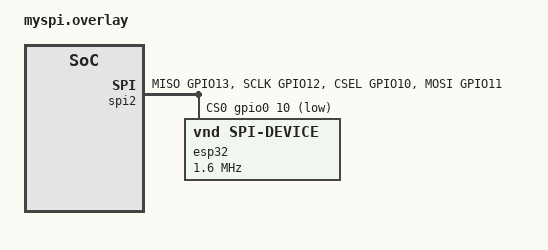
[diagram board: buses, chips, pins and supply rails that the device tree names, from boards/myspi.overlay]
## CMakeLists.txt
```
cmake_minimum_required(VERSION 3.20.0)
find_package(Zephyr REQUIRED HINTS $ENV{ZEPHYR_BASE})
project(app LANGUAGES C)

file(GLOB THREAD_SRCS ${CMAKE_CURRENT_SOURCE_DIR}/src/threads/*.c)
target_sources(app PRIVATE src/main.c src/test.gps.c src/test.pwm.c src/hil_diag.c ${THREAD_SRCS})

zephyr_include_directories(src)

zephyr_include_directories(${ZEPHYR_BASE}/../modules/lib/nanopb)

list(APPEND CMAKE_MODULE_PATH ${ZEPHYR_BASE}/modules/nanopb)
include(nanopb)
FILE(GLOB proto_sources ${CMAKE_CURRENT_SOURCE_DIR}/../../shared/proto/*.proto)
zephyr_nanopb_sources(app ${proto_sources})
```

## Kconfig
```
# Copyright (c) 2021 Nordic Semiconductor ASA
# SPDX-License-Identifier: Apache-2.0
#
# This file is the application Kconfig entry point. All application Kconfig
# options can be defined here or included via other application Kconfig files.
# You can browse these options using the west targets menuconfig (terminal) or
# guiconfig (GUI).

menu "Zephyr"
source "Kconfig.zephyr"
endmenu

module = APP
module-str = APP

config I2C_0_SCL_GPIO
	int "I2C0 SCL GPIO pin"
	default 9

config I2C_0_SDA_GPIO
	int "I2C0 SDA GPIO pin"
	default 8
```

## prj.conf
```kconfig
# Console
CONFIG_SERIAL=y
CONFIG_UART_CONSOLE=y
CONFIG_CONSOLE=y
CONFIG_PRINTK=y
CONFIG_NANOPB=y
CONFIG_SPI_STM32_INTERRUPT=y
CONFIG_CBPRINTF_FP_SUPPORT=y
CONFIG_CBPRINTF_NANO=y
CONFIG_CBPRINTF_COMPLETE=y
CONFIG_CBPRINTF_FP_SUPPORT=y

# Logging — immediate mode so output appears even before threads start
CONFIG_LOG=y
CONFIG_LOG_MODE_IMMEDIATE=y
CONFIG_LOG_BACKEND_UART=y

# GPIO (for LED)
CONFIG_GPIO=y

# SPI — both lines required or the device object is never emitted
CONFIG_SPI=y
CONFIG_SPI_SLAVE=y
CONFIG_SPI_LOG_LEVEL_DBG=y

# I2C
CONFIG_I2C=y
CONFIG_I2C_TARGET=y

# Kernel
CONFIG_MAIN_STACK_SIZE=4096
CONFIG_THREAD_NAME=y
CONFIG_STACK_SENTINEL=y

#PWM
CONFIG_PWM=y
CONFIG_PWM_CAPTURE=y

# Skip clock sync handshake during bring-up (no Pi connected yet)
# CONFIG_HIL_SKIP_CLOCK_SYNC=y
```

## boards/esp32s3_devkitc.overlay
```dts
/ {
    aliases {
        sw0 = &my_button;
    };
    gpio_keys {
        compatible = "gpio-keys";
        my_button: my_button {
            gpios = <&gpio0 12 GPIO_ACTIVE_LOW>;
            label = "Button 0";
        };
    };
};
```

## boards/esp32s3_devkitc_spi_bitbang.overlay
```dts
/*
 * Copyright (c) 2025 Nordic Semiconductor ASA
 *
 * SPDX-License-Identifier: Apache-2.0
 */

/*
 * Test requires loopback between P1.13 and P1.14
 * No other driver on SPI_CLK and SPI_CS.
 */

/ {
	aliases {
		myspi = &spi2;
	};

	spibb0: spibb0 {
		compatible = "zephyr,spi-bitbang";
		status = "okay";
		#address-cells = <1>;
		#size-cells = <0>;
		clk-gpios = <&gpio1 23 GPIO_ACTIVE_HIGH>;
		mosi-gpios = <&gpio1 13 GPIO_ACTIVE_HIGH>;
		miso-gpios = <&gpio1 14 GPIO_ACTIVE_HIGH>;
		cs-gpios = <&gpio1 30 GPIO_ACTIVE_LOW>;
	};
};
```

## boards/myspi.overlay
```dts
/ {
    aliases {
		myspi = &spi2;
	};
};

&spi2 {
	compatible = "espressif,esp32-spi";

	// already defind for me
	status = "okay";
    pinctrl-0 = <&spim2_default>;
    pinctrl-names = "default";

	// custom settings
    cs-gpios = <&gpio0 10 GPIO_ACTIVE_LOW>;

    esp32: esp32@0 {
		status = "okay";
        compatible = "vnd,spi-device";
        reg = <0>;
        spi-max-frequency = <1600000>;
        label = "esp32";
    };
};

// same as in pinctrl dsi; this is just for clarity 
&pinctrl {
	spim2_default: spim2_default {
		group1 {
			pinmux = 
                <SPIM2_MISO_GPIO13>,
				 <SPIM2_SCLK_GPIO12>,
				 <SPIM2_CSEL_GPIO10>;
		};

		group2 {
			pinmux = <SPIM2_MOSI_GPIO11>;
			output-low;
		};
	};
};
```

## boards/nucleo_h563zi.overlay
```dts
/ {
    aliases {
        i2c-lidar = &i2c1;
        i2c-imu = &i2c2;
        spi-orchestrator = &spi4;

        pwm-input1 = &timers1_pwm;
        pwm-input2 = &timers2_pwm;
        pwm-input3 = &timers3_pwm;
        pwm-input4 = &timers4_pwm;
        uart-rc = &uart4;
        uart-gnss = &usart6;
    };
};

&spi1 {
    status = "okay";
    pinctrl-0 = <&spi1_sck_pa5 &spi1_miso_pa6 &spi1_mosi_pa7 &spi1_nss_pa4>;
    pinctrl-names = "default";
};

&pinctrl {
    /* STM32H563: SPI1 = AF5 on PA4/5/6/7 — confirm in RM0481 Table 14 */
    spi1_sck_pa5:  spi1_sck_pa5  { pinmux = <STM32_PINMUX('A', 5, AF5)>; slew-rate = "very-high-speed"; };
    spi1_miso_pa6: spi1_miso_pa6 { pinmux = <STM32_PINMUX('A', 6, AF5)>; slew-rate = "very-high-speed"; };
    spi1_mosi_pa7: spi1_mosi_pa7 { pinmux = <STM32_PINMUX('A', 7, AF5)>; bias-disable; };
    spi1_nss_pa4:  spi1_nss_pa4  { pinmux = <STM32_PINMUX('A', 4, AF5)>; bias-pull-up; };
};

&spi4 {
    status = "okay";
    pinctrl-0 = <&spi4_sck_pe2
                 &spi4_nss_pe4
                 &spi4_miso_pe5
                 &spi4_mosi_pe6>;
    pinctrl-names = "default";
};

&i2c2 {
    status = "okay";
    pinctrl-0 = <&i2c2_scl_pf1 &i2c2_sda_pf0>;
    pinctrl-names = "default";
    clock-frequency = <I2C_BITRATE_FAST>;
};

&i2c4 {
    status = "okay";
    pinctrl-0 = <&i2c4_scl_pd12 &i2c4_sda_pd13>;
    pinctrl-names = "default";
    clock-frequency = <I2C_BITRATE_FAST>;
};

&timers1 {
    status = "okay";
    st,prescaler = <250>; // may need to change later

    timers1_pwm: pwm {
        status = "okay";
        pinctrl-0 = <&tim1_ch1_pe9>;
        pinctrl-names = "default";
    };
};

&timers2 {
    status = "okay";
    st,prescaler = <250>; // may need to change later

    timers2_pwm: pwm {
        status = "okay";
        pinctrl-0 = <&tim2_ch1_pa0>;
        pinctrl-names = "default";
    };
};
&uart4 {
    status = "okay";
    pinctrl-0 = <&uart4_tx_pa0 &uart4_rx_pd11>;
    pinctrl-names = "default";
};

/* GNSS emulator: TX (PC6) goes to the flight controller's GNSS RX pin.
 * RX (PC7) is only needed if the flight software sends config commands. */
&usart6 {
    status = "okay";
    pinctrl-0 = <&usart6_tx_pc6 &usart6_rx_pc7>;
    pinctrl-names = "default";
    current-speed = <9600>;
};

&timers3 {
    status = "okay";
    st,prescaler = <250>; // may need to change later

    timers3_pwm: pwm {
        status = "okay";
        pinctrl-0 = <&tim3_ch1_pb4>;
        pinctrl-names = "default";
    };
};

&timers4 {
    status = "okay";
    st,prescaler = <250>; // may need to change later

    timers4_pwm: pwm {
        status = "okay";
        pinctrl-0 = <&tim4_ch1_pd12>;
        pinctrl-names = "default";
    };
};
```

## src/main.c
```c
// /**
//  * @file main.c
//  * @brief HIL Bridge — Nucleo STM32 entry point.
//  *
//  * Boot sequence
//  * ─────────────
//  *   1. Verify all required devices are ready.
//  *   2. Perform the SPI clock-sync handshake with the Pi.
//  *      The Pi sends a special SYNC frame; the STM32 records its own now_us()
//  *      at the moment it receives it.  All subsequent packet timestamps are
//  *      relative to that moment.
//  *   3. Start sensor_emulation subsystem (registers I2C targets, starts thread).
//  *   4. Start scheduler subsystem (starts SPI DMA loop + injection timer).
//  *   5. Run diagnostic thread forever, printing stats every 2 s.
//  *
//  * ── CLOCK SYNC PROTOCOL ──────────────────────────────────────────────────────
//  *
//  *   Pi sends first (SYNC marker):
//  *     [0xFF][0xFF][SYNC_MAGIC_0][SYNC_MAGIC_1][SYNC_MAGIC_2][SYNC_MAGIC_3]
//  *     where SYNC_MAGIC = 0xC0FFEEEE (little-endian)
//  *
//  *   STM32 receives the 6-byte sync frame over SPI.
//  *   STM32 records epoch_stm32_us = now_us() at reception.
//  *   STM32 sends back 4 bytes = epoch_stm32_us (little-endian) on the next
//  *   Pi-clocked SPI transaction.  (The Pi must initiate a 4-byte read.)
//  *
//  *   Pi receives the 4 bytes, computes:
//  *     epoch_offset_us = epoch_stm32_us - pi_monotonic_us_at_sync
//  *   Then all subsequent timestamp_us fields in SensorPacket are:
//  *     (pi_sim_elapsed_us + epoch_stm32_us_at_sync)
//  *
//  *   For the test harness (pi_simulator.py), a simplified version is used:
//  *   timestamps start at 0 and the STM32 clock-gates against its own elapsed
//  *   time since main() started.  This is sufficient to validate the flow.
//  */

// #include "threads/sensor_emulation_test.h"
// #include "threads/scheduler_test.h"
// #include "threads/gnss_emulator.h"
// #include "hil_diag.h"

// #include <zephyr/kernel.h>
// #include <zephyr/drivers/spi.h>
// #include <zephyr/drivers/i2c.h>
// #include <zephyr/logging/log.h>
// #include <zephyr/sys/printk.h>
// #include <string.h>

// LOG_MODULE_REGISTER(main, LOG_LEVEL_INF);

// /* ── Device handles ─────────────────────────────────────────────────────── */
// /* static const struct device *i2c_lidar = DEVICE_DT_GET(DT_ALIAS(i2c_lidar)); */
// /* static const struct device *i2c_imu   = DEVICE_DT_GET(DT_ALIAS(i2c_imu)); */
// /* static const struct device *spi_dev   = DEVICE_DT_GET(DT_ALIAS(spi_orchestrator)); */

// /* ── Clock sync ──────────────────────────────────────────────────────────── */
// #define SYNC_MAGIC        0xC0FFEEEEUL
// #define SYNC_FRAME_MARKER 0xFFFF

// /*
//  * hil_epoch_stm32_us: the STM32's now_us() value at the moment the Pi's
//  * SYNC frame was received.  All packet timestamps are relative to this.
//  *
//  * For the simplified test harness, this is set to 0 (Pi timestamps start at
//  * 0 and the delay calculation still works because both sides count up from 0
//  * simultaneously).
// */

// extern atomic_t spi_err_count; //from scheduler_test.c
// static const struct gpio_dt_spec led =
//     GPIO_DT_SPEC_GET(DT_ALIAS(led0), gpios);


// static uint32_t hil_epoch_stm32_us = 0;

// static inline uint32_t now_us(void)
// {
//     return k_cyc_to_us_near32(k_cycle_get_32());
// }

// /**
//  * @brief Perform the SPI clock-sync handshake.
//  *
//  * This function blocks until the Pi sends the SYNC magic frame.
//  * In the test harness, the Pi sends it as the very first SPI transaction.
//  *
//  * For the simplified test: if SYNC_SKIP is defined, we skip the handshake
//  * and use epoch=0.  Define it in prj.conf for quick bring-up without a Pi.
//  */
// /* static void clock_sync_handshake(void) */
// /* { */
// /* #ifdef CONFIG_HIL_SKIP_CLOCK_SYNC */
// /*     hil_epoch_stm32_us = now_us(); */
// /*     LOG_WRN("Clock sync SKIPPED (CONFIG_HIL_SKIP_CLOCK_SYNC=y)."); */
// /*     LOG_WRN("Timestamps will be relative to STM32 boot."); */
// /*     return; */
// /* #endif */

// /*     static uint8_t sync_rx_buf[8]; */
// /*     static struct spi_buf sync_spi_buf      = { .buf = sync_rx_buf, .len = 8 }; */
// /*     static struct spi_buf_set sync_spi_set  = { .buffers = &sync_spi_buf, .count = 1 }; */

// /*     static const struct spi_config sync_cfg = { */
// /*         .frequency = 10000000U, */
// /*         .operation = SPI_OP_MODE_SLAVE | SPI_TRANSFER_MSB | SPI_WORD_SET(8), */
// /*     }; */

// /*     LOG_INF("Waiting for Pi SYNC frame..."); */

// /*     /1* Spin until we receive the magic sync pattern. *1/ */
// /*     while (1) { */
// /*         memset(sync_rx_buf, 0, sizeof(sync_rx_buf)); */
// /*         if (spi_read(spi_dev, &sync_cfg, &sync_spi_set) != 0) { */
// /*             continue; */
// /*         } */

// /*         uint16_t marker = (uint16_t)sync_rx_buf[0] | ((uint16_t)sync_rx_buf[1] << 8); */
// /*         uint32_t magic  = (uint32_t)sync_rx_buf[2] */
// /*                         | ((uint32_t)sync_rx_buf[3] << 8) */
// /*                         | ((uint32_t)sync_rx_buf[4] << 16) */
// /*                         | ((uint32_t)sync_rx_buf[5] << 24); */

// /*         if (marker == SYNC_FRAME_MARKER && magic == SYNC_MAGIC) { */
// /*             hil_epoch_stm32_us = now_us(); */
// /*             LOG_INF("SYNC received! STM32 epoch = %u µs", hil_epoch_stm32_us); */
// /*             break; */
// /*         } */
// /*         LOG_DBG("Waiting for SYNC... got marker=0x%04X magic=0x%08X", */
// /*                 marker, magic); */
// /*     } */

// /*     /1* Send our epoch back to the Pi so it can compute the offset. *1/ */
// /*     static uint8_t sync_tx_buf[4]; */
// /*     static struct spi_buf sync_tx_spi_buf  = { .buf = sync_tx_buf, .len = 4 }; */
// /*     static struct spi_buf_set sync_tx_set  = { .buffers = &sync_tx_spi_buf, .count = 1 }; */

// /*     sync_tx_buf[0] = (uint8_t)( hil_epoch_stm32_us        & 0xFF); */
// /*     sync_tx_buf[1] = (uint8_t)((hil_epoch_stm32_us >>  8) & 0xFF); */
// /*     sync_tx_buf[2] = (uint8_t)((hil_epoch_stm32_us >> 16) & 0xFF); */
// /*     sync_tx_buf[3] = (uint8_t)((hil_epoch_stm32_us >> 24) & 0xFF); */

// /*     /1* Pi will clock these 4 bytes out. *1/ */
// /*     (void)spi_write(spi_dev, &sync_cfg, &sync_tx_set); */
// /*     LOG_INF("Epoch sent to Pi: %u µs", hil_epoch_stm32_us); */
// /* } */

// /* ── Diagnostic thread ───────────────────────────────────────────────────── */
// #define DIAG_STACK_SIZE  2048U
// #define DIAG_PRIORITY    10     /* lowest priority: runs only when nothing else is ready */
// #define DIAG_PERIOD_MS   2000

// K_THREAD_STACK_DEFINE(diag_stack, DIAG_STACK_SIZE);
// static struct k_thread diag_thread_data;


// static void diag_thread(void *p1, void *p2, void *p3)
// {
//     ARG_UNUSED(p1); ARG_UNUSED(p2); ARG_UNUSED(p3);

//     hil_diag_snapshot_t prev = {0};
//     hil_diag_snapshot_t cur  = {0};

//     uint32_t prev_spi_err = 0;

//     while (1) {
//         k_sleep(K_MSEC(DIAG_PERIOD_MS));

//         hil_diag_get_snapshot(&cur);
//         uint32_t cur_spi_err = (uint32_t)atomic_get(&spi_err_count);

//         /* ── Rates over last 2 s ───────────────────────────── */
//         uint32_t rx_rate    = (cur.spi_rx_count      - prev.spi_rx_count)
//                               * 1000 / DIAG_PERIOD_MS;
//         uint32_t inj_rate   = (cur.timer_inject_count - prev.timer_inject_count)
//                               * 1000 / DIAG_PERIOD_MS;
//         uint32_t imu_rate   = (cur.imu_read_count     - prev.imu_read_count)
//                               * 1000 / DIAG_PERIOD_MS;
//         uint32_t lidar_rate = (cur.lidar_read_count   - prev.lidar_read_count)
//                               * 1000 / DIAG_PERIOD_MS;
//         uint32_t err_delta  = cur_spi_err - prev_spi_err;

//         /* ── Single line: easy to read at speed ────────────── */
//         printk("[t=%5us] SPI rx=%u/s inj=%u/s I2C imu=%u/s lidar=%u/s "
//                "| fails=%u evict=%u spi_err=%u\n",
//                k_uptime_get_32() / 1000,
//                rx_rate, inj_rate, imu_rate, lidar_rate,
//                cur.decode_fail_count,
//                cur.scheduler_q_evict,
//                cur_spi_err);

//         /* ── LED blink pattern encodes health ──────────────── */
//         /* Green = healthy: slow 1s blink                       */
//         /* Problem: fast 100ms blink (SPI errors or no data)    */
//         bool healthy = (rx_rate > 0) && (err_delta == 0);
//         gpio_pin_set_dt(&led, 1);
//         k_sleep(K_MSEC(healthy ? 900 : 80));
//         gpio_pin_set_dt(&led, 0);
//         /* (the k_sleep here is inside a 2s cycle so it's fine) */

//         prev          = cur;
//         prev_spi_err  = cur_spi_err;
//     }
// }


// /* static void diag_thread(void *p1, void *p2, void *p3) */
// /* { */
// /*     ARG_UNUSED(p1); ARG_UNUSED(p2); ARG_UNUSED(p3); */

// /*     hil_diag_snapshot_t prev = {0}; */
// /*     hil_diag_snapshot_t cur  = {0}; */

// /*     /1* Header printed once *1/ */
// /*     printk("\n"); */
// /*     printk("╔══════════════════════════════════════════════════════════════╗\n"); */
// /*     printk("║          HIL NUCLEO — LIVE DIAGNOSTIC (2 s interval)        ║\n"); */
// /*     printk("╚══════════════════════════════════════════════════════════════╝\n"); */

// /*     while (1) { */
// /*         k_sleep(K_MSEC(DIAG_PERIOD_MS)); */

// /*         hil_diag_get_snapshot(&cur); */

// /*         uint32_t delta_spi    = cur.spi_rx_count       - prev.spi_rx_count; */
// /*         uint32_t delta_dec_f  = cur.decode_fail_count  - prev.decode_fail_count; */
// /*         uint32_t delta_inj    = cur.timer_inject_count  - prev.timer_inject_count; */
// /*         uint32_t delta_evict  = cur.scheduler_q_evict  - prev.scheduler_q_evict; */
// /*         uint32_t delta_imu    = cur.imu_read_count      - prev.imu_read_count; */
// /*         uint32_t delta_lidar  = cur.lidar_read_count    - prev.lidar_read_count; */

// /*         /1* Rates per second *1/ */
// /*         uint32_t spi_hz   = delta_spi   * 1000 / DIAG_PERIOD_MS; */
// /*         uint32_t inj_hz   = delta_inj   * 1000 / DIAG_PERIOD_MS; */
// /*         uint32_t imu_hz   = delta_imu   * 1000 / DIAG_PERIOD_MS; */
// /*         uint32_t lidar_hz = delta_lidar * 1000 / DIAG_PERIOD_MS; */

// /*         printk("\n──────────────── t=%u ms ────────────────\n", */
// /*                k_uptime_get_32()); */

// /*         printk("[SPI ← Pi]   frames/s: %3u  | total: %6u  | decode_fail: %u\n", */
// /*                spi_hz, cur.spi_rx_count, cur.decode_fail_count); */

// /*         printk("[TIMER]      injects/s: %3u | total: %6u  | sched_q evict: %u\n", */
// /*                inj_hz, cur.timer_inject_count, cur.scheduler_q_evict); */

// /*         printk("[I2C → DUT]  imu/s: %3u  lidar/s: %3u  | imu_total: %u  lidar_total: %u\n", */
// /*                imu_hz, lidar_hz, cur.imu_read_count, cur.lidar_read_count); */

// /*         printk("[LAST INJECTED]  ts=%u µs  lidar=%d mm  euler_x=%d (1/16 deg)\n", */
// /*                cur.last_inject_ts_us, */
// /*                cur.last_lidar_mm, */
// /*                cur.last_euler_x); */

// /*         if (delta_dec_f > 0) { */
// /*             printk("⚠ WARNING: %u decode failures in last interval!\n", delta_dec_f); */
// /*         } */
// /*         if (delta_evict > 0) { */
// /*             printk("⚠ WARNING: %u scheduler_q evictions — Pi faster than timer!\n", */
// /*                    delta_evict); */
// /*         } */
// /*         if (delta_inj == 0 && cur.spi_rx_count > 10) { */
// /*             printk("⚠ WARNING: Timer not injecting! Check clock sync / timestamps.\n"); */
// /*         } */
// /*         if (delta_imu == 0 && delta_lidar == 0 && cur.timer_inject_count > 5) { */
// /*             printk("⚠ WARNING: DUT not requesting data! Check I2C wiring.\n"); */
// /*         } */

// /*         prev = cur; */
// /*     } */
// /* } */

// /* ── Entry point ─────────────────────────────────────────────────────────── */
// int main(void)
// {
//     gpio_pin_configure_dt(&led, GPIO_OUTPUT_INACTIVE);
//     printk("fuckoyu");
//     const struct device *i2c_lidar = DEVICE_DT_GET(DT_ALIAS(i2c_lidar));
//     const struct device *i2c_imu = DEVICE_DT_GET(DT_ALIAS(i2c_imu));
//     const struct device *spi_dev = DEVICE_DT_GET(DT_ALIAS(spi_orchestrator));
//     const struct device *uart_gnss = DEVICE_DT_GET(DT_ALIAS(uart_gnss));
//     while(1) {
//     printk("\nHIL Nucleo HIL Bridge v1.0\n");
//     LOG_INF("HIL Nucleo bridge starting...");
//     printk("Board: %s\n", CONFIG_BOARD);

//     /* ── Device readiness checks ──────────────────────────────────────── */
//     if (!device_is_ready(spi_dev)) {
//         LOG_ERR("SPI device not ready — halting");
//         return -ENODEV;
//     }
//     LOG_INF("SPI (orchestrator) ready");

//     if (!device_is_ready(i2c_lidar)) {
//         LOG_ERR("I2C LiDAR bus not ready — halting");
//         return -ENODEV;
//     }
//     LOG_INF("I2C LiDAR bus ready");

//     if (!device_is_ready(i2c_imu)) {
//         LOG_ERR("I2C IMU bus not ready — halting");
//         return -ENODEV;
//     }
//     LOG_INF("I2C IMU bus ready");

//     /* ── Clock sync ─────────────────────────────────────────────────────── */
//     //clock_sync_handshake();

//     /* ── Subsystem init ─────────────────────────────────────────────────── */
//     /*
//      * sensor_emulation MUST be started before the scheduler so that the I2C
//      * target callbacks are registered before the first timer injection fires.
//      */
//     sensor_emulation_init(i2c_lidar, i2c_imu);
//     LOG_INF("Sensor emulation subsystem started");

//     /* GNSS runs on its own thread; a failure here shouldn't stop the I2C sensors */
//     if (gnss_emulator_init(uart_gnss) < 0) {
//         LOG_ERR("GNSS emulator failed to start");
//     }

//     scheduler_init();
//     LOG_INF("Scheduler subsystem started");

//     /* ── Diagnostic thread ──────────────────────────────────────────────── */
//     k_thread_create(&diag_thread_data,
//                     diag_stack,
//                     K_THREAD_STACK_SIZEOF(diag_stack),
//                     diag_thread,
//                     NULL, NULL, NULL,
//                     DIAG_PRIORITY, 0, K_NO_WAIT);
//     k_thread_name_set(&diag_thread_data, "hil_diag");
//     LOG_INF("Diagnostic thread started (prints every %d ms)", DIAG_PERIOD_MS);

//     /*
//      * main() returns normally — Zephyr's main thread goes idle.
//      * All work happens in the three subsystem threads + timer ISR + I2C ISRs.
//      */
//     LOG_INF("Init complete. Bridge is live.");
//     return 0;
//     }
// }

#include <zephyr/kernel.h>
#include <zephyr/device.h>
#include <zephyr/drivers/uart.h>
#include <zephyr/sys/printk.h>
#include <errno.h>

#define UART_RX_NODE DT_ALIAS(uart_gnss)

#if !DT_NODE_EXISTS(UART_RX_NODE)
#error "uart_gnss alias is not defined in the devicetree"
#endif

static const struct device *uart_dev = DEVICE_DT_GET(UART_RX_NODE);

int main(void)
{
    if (!device_is_ready(uart_dev)) {
        printk("UART device not ready\n");
        return -ENODEV;
    }

    printk("UART receiver started on %s\n", uart_dev->name);

    uint8_t c;

    while (1) {
        if (uart_poll_in(uart_dev, &c) == 0) {
            printk("%c", c);
        } else {
            k_msleep(1);
        }
    }

    return 0;
}
```

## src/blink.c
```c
#include <zephyr/kernel.h>
#include <zephyr/device.h>
#include <zephyr/drivers/gpio.h>
#include <zephyr/sys/util.h>
#include <zephyr/sys/printk.h>
#include <inttypes.h>

#define SLEEP_TIME  1
// #define LED0_Node DT_ALIAS(led0)
// static const struct gpio_dt_spec led = GPIO_DT_SPEC_GET(LED0_Node, gpios);

#define BUTTON_NODE DT_ALIAS(button0)
#if !DT_NODE_HAS_STATUS(BUTTON_NODE, okay)
#error "Unsupported board: button0 devicetree alias is not defined"
#endif
static const struct gpio_dt_spec button = GPIO_DT_SPEC_GET_OR(BUTTON_NODE, gpios, {0});
static struct gpio_callback button_cb_data; 
static struct gpio_dt_spec led = GPIO_DT_SPEC_GET_OR(DT_ALIAS(led0), gpios, {0});
bool led_state = false;
void button_pressed(const struct device *dev, struct gpio_callback *cb, uint32_t pins)
{
    printk("Button pressed at %" PRIu32 "\n", k_cycle_get_32());
    if(led.port) { 
        led_state = !led_state; 
        gpio_pin_set_dt(&led, led_state); 
        printk("Button toggled\n");
    }
}

int main(void)
{
    int ret; 
  

    if(!gpio_is_ready_dt(&button)) { 
        printk("Error: Button device %s not ready\n", button.port->name);
        return 0; 
    }
    ret = gpio_pin_configure_dt(&button, GPIO_INPUT); 
    if(ret != 0) { 
        printk("Error %d: failed to configure %s pin %d\n", ret, button.port->name, button.pin);
    }
    ret = gpio_pin_interrupt_configure_dt(&button, 
        GPIO_INT_EDGE_TO_ACTIVE); 
    if(ret != 0) { 
        printk("Error %d: failed to configure interrupt on %s pin %d\n", 
            ret, button.port->name, button.pin); 
        return 0; 
    }
    gpio_init_callback(&button_cb_data, button_pressed, BIT(button.pin)); 
    gpio_add_callback(button.port, &button_cb_data); 
    printk("Set up button at %s pin %d\n", button.port->name, button.pin); 

    if(led.port && !gpio_is_ready_dt(&led)) { 
        printk("Error %d: LED device %s is not ready; ignoring it\n", 
            ret, led.port->name); 
            led.port = NULL; 
    }
    if (led.port) { 
        ret = gpio_pin_configure_dt(&led, GPIO_OUTPUT); 
        if(ret != 0) {
            printk("Error %d: failed to configure LED device %s pin %d\n", 
                ret, led.port->name, led.pin); 
            led.port = NULL; 
        } else { 
            printk("Set up LED at %s pin %d\n", led.port->name, led.pin); 
        }
    }
    printk("Press the button\n"); 
    if(led.port) { 
        gpio_pin_set_dt(&led, 0);
    }
    return 0; 
        
}
```

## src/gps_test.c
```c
#define GPS_SEND 1

#if GPS_SEND == 1
#include "threads/gnss_emulator.h"
#include "threads/sensor_emulation_test.h"

#include <zephyr/kernel.h>
#include <zephyr/device.h>
#include <zephyr/drivers/uart.h>
#include <zephyr/logging/log.h>
#include <errno.h>

LOG_MODULE_REGISTER(main, LOG_LEVEL_INF);

static const struct device *uart_gnss = DEVICE_DT_GET(DT_ALIAS(uart_gnss));

int main(void)
{
    printk("starting up\n");
    if (!device_is_ready(uart_gnss))
    {
        LOG_ERR("GNSS UART not ready");
        return -ENODEV;
    }
    printk("device is ready\n");

    LOG_INF("GNSS UART ready: %s", uart_gnss->name);

    if (gnss_emulator_init(uart_gnss) < 0)
    {
        LOG_ERR("Failed to initialize GNSS emulator");
        return -ENODEV;
    }

    printk("successful init\n");

    gps_data_t gps_packet = {
        .time = "123519.00",
        .status = 'A',
        .latitude = 4807.03800,
        .lat_dir = 'N',
        .longitude = 1131.00000,
        .lon_dir = 'E',
        .speed = 12.0f,
        .course = 185.0f,
        .date = "230394",
        .variation = 0.0f,
        .var_dir = 'E',
        .mode = 'A',
        .nav_status = 'S'};

    LOG_INF("GNSS emulator initialized");

    while (1)
    {
        printk("sending packet\n");
        gps_update_location(&gps_packet);
        printk("packet sent\n");
        k_msleep(1000);
    }

    return 0;
}

#else
#include <zephyr/kernel.h>
#include <zephyr/device.h>
#include <zephyr/drivers/uart.h>
#include <zephyr/sys/printk.h>
#include <errno.h>

#define UART_RX_NODE DT_ALIAS(uart_gnss)

#if !DT_NODE_EXISTS(UART_RX_NODE)
#error "uart_gnss alias is not defined in the devicetree"
#endif

static const struct device *uart_dev = DEVICE_DT_GET(UART_RX_NODE);

int main(void)
{
    if (!device_is_ready(uart_dev)) {
        printk("UART device not ready\n");
        return -ENODEV;
    }

    printk("UART receiver started on %s\n", uart_dev->name);

    uint8_t c;

    while (1) {
        if (uart_poll_in(uart_dev, &c) == 0) {
            printk("%c", c);
        } else {
            k_msleep(1);
        }
    }

    return 0;
}
#endif
```

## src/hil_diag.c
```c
/**
 * @file hil_diag.c
 * @brief Diagnostic counter storage and snapshot implementation.
 */

#include "hil_diag.h"
#include <zephyr/sys/atomic.h>

/* ── Backing atomics ─────────────────────────────────────────────────────── */
static atomic_t diag_spi_rx          = ATOMIC_INIT(0);
static atomic_t diag_decode_fail     = ATOMIC_INIT(0);
static atomic_t diag_timer_inject    = ATOMIC_INIT(0);
static atomic_t diag_sched_q_evict   = ATOMIC_INIT(0);
static atomic_t diag_imu_read        = ATOMIC_INIT(0);
static atomic_t diag_lidar_read      = ATOMIC_INIT(0);
static atomic_t diag_last_inject_ts  = ATOMIC_INIT(0);
static atomic_t diag_last_lidar_mm   = ATOMIC_INIT(0);
static atomic_t diag_last_euler_x    = ATOMIC_INIT(0);

/* ── Increment helpers ───────────────────────────────────────────────────── */
void hil_diag_inc_spi_rx(void)           { atomic_inc(&diag_spi_rx);        }
void hil_diag_inc_decode_fail(void)      { atomic_inc(&diag_decode_fail);   }
void hil_diag_inc_timer_inject(void)     { atomic_inc(&diag_timer_inject);  }
void hil_diag_inc_scheduler_q_evict(void){ atomic_inc(&diag_sched_q_evict); }
void hil_diag_inc_imu_read(void)         { atomic_inc(&diag_imu_read);      }
void hil_diag_inc_lidar_read(void)       { atomic_inc(&diag_lidar_read);    }

/* ── Value setters ───────────────────────────────────────────────────────── */
void hil_diag_set_last_inject_ts(uint32_t ts_us) {
    atomic_set(&diag_last_inject_ts, (atomic_val_t)ts_us);
}
void hil_diag_set_last_lidar(int32_t mm) {
    atomic_set(&diag_last_lidar_mm, (atomic_val_t)mm);
}
void hil_diag_set_last_euler_x(int32_t val) {
    atomic_set(&diag_last_euler_x, (atomic_val_t)val);
}

/* ── Snapshot ────────────────────────────────────────────────────────────── */
void hil_diag_get_snapshot(hil_diag_snapshot_t *out)
{
    out->spi_rx_count       = (uint32_t)atomic_get(&diag_spi_rx);
    out->decode_fail_count  = (uint32_t)atomic_get(&diag_decode_fail);
    out->timer_inject_count = (uint32_t)atomic_get(&diag_timer_inject);
    out->scheduler_q_evict  = (uint32_t)atomic_get(&diag_sched_q_evict);
    out->imu_read_count     = (uint32_t)atomic_get(&diag_imu_read);
    out->lidar_read_count   = (uint32_t)atomic_get(&diag_lidar_read);
    out->last_inject_ts_us  = (uint32_t)atomic_get(&diag_last_inject_ts);
    out->last_lidar_mm      = (int32_t) atomic_get(&diag_last_lidar_mm);
    out->last_euler_x       = (int32_t) atomic_get(&diag_last_euler_x);
}
```

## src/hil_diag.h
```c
/**
 * @file hil_diag.h
 * @brief Lightweight diagnostic counters for the HIL bridge.
 *
 * All counters are atomic_t — safe to increment from ISR context.
 * The diagnostic thread in main.c polls them at 2 Hz and prints a summary.
 *
 * Usage in other modules:
 *   #include "hil_diag.h"
 *   hil_diag_inc_spi_rx();          // call after successful SPI decode
 *   hil_diag_inc_timer_inject();    // call in injection_timer_isr
 *   hil_diag_inc_imu_read();        // call in imu_read_requested_cb
 *   hil_diag_inc_lidar_read();      // call in lidar_read_requested_cb
 *   hil_diag_set_last_lidar(mm);    // record last served LiDAR value
 *   hil_diag_set_last_euler_x(v);   // record last served IMU euler_x
 *   hil_diag_set_last_inject_ts(t); // record last injected timestamp
 */

#ifndef HIL_DIAG_H
#define HIL_DIAG_H

#include <zephyr/sys/atomic.h>
#include <stdint.h>

/* ── Snapshot struct (returned by hil_diag_get_snapshot) ─────────────────── */
typedef struct {
    uint32_t spi_rx_count;        /**< total successfully decoded SPI frames  */
    uint32_t decode_fail_count;   /**< total nanopb decode failures           */
    uint32_t timer_inject_count;  /**< total timer ISR injections             */
    uint32_t scheduler_q_evict;   /**< total scheduler_q oldest-evictions     */
    uint32_t imu_read_count;      /**< total I2C read_requested on IMU        */
    uint32_t lidar_read_count;    /**< total I2C read_requested on LiDAR      */
    uint32_t last_inject_ts_us;   /**< timestamp_us of last injected packet   */
    int32_t  last_lidar_mm;       /**< last distance served to I2C bus        */
    int32_t  last_euler_x;        /**< last IMU euler_x served to I2C bus     */
} hil_diag_snapshot_t;

/* ── Increment helpers (ISR-safe) ────────────────────────────────────────── */
void hil_diag_inc_spi_rx(void);
void hil_diag_inc_decode_fail(void);
void hil_diag_inc_timer_inject(void);
void hil_diag_inc_scheduler_q_evict(void);
void hil_diag_inc_imu_read(void);
void hil_diag_inc_lidar_read(void);

/* ── Value setters (ISR-safe) ────────────────────────────────────────────── */
void hil_diag_set_last_inject_ts(uint32_t ts_us);
void hil_diag_set_last_lidar(int32_t mm);
void hil_diag_set_last_euler_x(int32_t val);

/* ── Snapshot reader (thread context only) ───────────────────────────────── */
void hil_diag_get_snapshot(hil_diag_snapshot_t *out);

#endif /* HIL_DIAG_H */
```

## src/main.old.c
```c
// #include <zephyr/kernel.h>
// #include <zephyr/device.h>
// #include <zephyr/devicetree.h>
// #include <zephyr/drivers/i2c.h>
// #include <zephyr/sys/printk.h>
// #include <zephyr/drivers/gpio.h>
// #include <inttypes.h>

// #include <string.h>
// #include <ctype.h>

// #define I2C_NODE   DT_NODELABEL(i2c0)
// #define SLAVE_ADDR 0x55
// #define RX_LEN     16
// #define BUTTON_NODE DT_ALIAS(button0)
// #if !DT_NODE_HAS_STATUS(BUTTON_NODE, okay)
// #error "Unsupported board: button0 devicetree alias is not defined"
// #endif
// const struct device *i2c = DEVICE_DT_GET(I2C_NODE);
// static struct gpio_callback button_cb_data; 
// static struct gpio_dt_spec button = GPIO_DT_SPEC_GET_OR(BUTTON_NODE, gpios, {0});
// static struct gpio_dt_spec led = GPIO_DT_SPEC_GET_OR(DT_ALIAS(led0), gpios, {0});
// bool led_state = false; 

// static void hexdump(const uint8_t *buf, size_t len) {
//     for (size_t i = 0; i < len; ++i) {
//         printk("%02X ", buf[i]);
//     }
//     printk("\n");
// }

// void button_pressed(const struct device *dev, struct gpio_callback *cb, uint32_t pins) { 
//     printk("Button pressed at %" PRIu32 "\n", k_cycle_get_32());
//     if(device_is_ready(i2c)) { 
//         uint8_t cmd = 0x01; 
//         uint8_t rx[RX_LEN] = {0}; 
//         int ret = i2c_write_read(i2c, SLAVE_ADDR, &cmd, 1, rx, RX_LEN); 
//         printk("write_read ret=%d  \n", ret);
//         if (ret == 0) {
//             printk("HEX: ");
//             hexdump(rx, RX_LEN);

//             // Print ASCII safely
//             char ascii[RX_LEN + 1];
//             for (int i = 0; i < RX_LEN; ++i) {
//                 ascii[i] = isprint((int)rx[i]) ? (char)rx[i] : '.';
//             }
//             ascii[RX_LEN] = '\0';
//             printk("ASC: %s\n", ascii);
//         }
//     } else { 
//         printk("I2C device not ready\n");
//         return;
//     }

//     if(led.port) { 
//         led_state = !led_state; 
//         gpio_pin_set_dt(&led, led_state); 
//         printk("Button toggled\n");
//     }
// }



// void main(void) {
//     int ret; 
//     if (!device_is_ready(i2c)) {
//         printk("I2C not ready\n");
//         return;
//     }

//     // Optional: ensure controller is configured (usually auto by DTS)
//     // i2c_configure(i2c, I2C_SPEED_SET(I2C_SPEED_STANDARD) | I2C_MODE_CONTROLLER);
//     if(!gpio_is_ready_dt(&button)) { 
//         printk("Error: Button device %s not ready\n", button.port->name);
//         return; 
//     }

//     ret = gpio_pin_configure_dt(&button, GPIO_INPUT);
//     if(ret != 0) { 
//         printk("Error %d: failed to configure %s pin %d\n", ret, button.port->name, button.pin);
//     }
//     ret = gpio_pin_interrupt_configure_dt(&button, GPIO_INT_EDGE_TO_ACTIVE);
//     if(ret != 0) {
//         printk("Error %d: failed to configure interrupt on %s pin %d\n", ret, button.port->name, button.pin); 
//         return;
//     }

//     gpio_init_callback(&button_cb_data, button_pressed, BIT(button.pin));
//     gpio_add_callback(button.port, &button_cb_data);
//     printk("Set up button at %s pin %d\n", button.port->name, button.pin);
//     if(led.port && !gpio_is_ready_dt(&led)) { 
//         printk("Error: LED device %s is not ready; ignoring it\n", led.port->name); 
//         led.port = NULL; 
//     }
//     if (led.port) { 
//         ret = gpio_pin_configure_dt(&led, GPIO_OUTPUT); 
//         if(ret != 0) {
//             printk("Error %d: failed to configure LED device %s pin %d\n", 
//                 ret, led.port->name, led.pin); 
//             led.port = NULL; 
//         } else { 
//             printk("Set up LED at %s pin %d\n", led.port->name, led.pin); 
//         }
//     }

//     printk("System ready. Press the button to trigger I2C communication.\n");
//     while (1) {
//         k_sleep(K_MSEC(1000));
//     }

    
// }


// // --- Zephyr ESP32-S3 MASTER ---
// // Repeated-start write-then-read to Arduino slave (0x55)

// // #include <zephyr/kernel.h>
// // #include <zephyr/device.h>
// // #include <zephyr/devicetree.h>
// // #include <zephyr/drivers/i2c.h>
// // #include <zephyr/sys/printk.h>
// // #include <string.h>
// // #include <ctype.h>

// // #define I2C_NODE   DT_NODELABEL(i2c0)
// // #define SLAVE_ADDR 0x55
// // #define RX_LEN     16

// // static void hexdump(const uint8_t *buf, size_t len) {
// //     for (size_t i = 0; i < len; ++i) {
// //         printk("%02X ", buf[i]);
// //     }
// //     printk("\n");
// // }

// // void main(void) {
// //     const struct device *i2c = DEVICE_DT_GET(I2C_NODE);
// //     if (!device_is_ready(i2c)) {
// //         printk("I2C not ready\n");
// //         return;
// //     }

// //     // Optional: ensure controller is configured (usually auto by DTS)
// //     // i2c_configure(i2c, I2C_SPEED_SET(I2C_SPEED_STANDARD) | I2C_MODE_CONTROLLER);

// //     uint8_t cmd = 0x01;
// //     uint8_t rx[RX_LEN] = {0};

// //     while (1) {
// //         int ret = i2c_write_read(i2c, SLAVE_ADDR, &cmd, 1, rx, RX_LEN);
// //         printk("write_read ret=%d  ", ret);
// //         if (ret == 0) {
// //             printk("HEX: ");
// //             hexdump(rx, RX_LEN);

// //             // Print ASCII safely
// //             char ascii[RX_LEN + 1];
// //             for (int i = 0; i < RX_LEN; ++i) {
// //                 ascii[i] = isprint((int)rx[i]) ? (char)rx[i] : '.';
// //             }
// //             ascii[RX_LEN] = '\0';
// //             printk("ASC: %s\n", ascii);
// //         }
// //         k_msleep(1000);
// //     }
// // }
```

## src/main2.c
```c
#include <zephyr/kernel.h>
#include <zephyr/sys/printk.h>
#include "threads/orchestrator_comms.h"
#include "threads/scheduler.h"
#include "threads/sensor_emulation.h"
#include "threads/dut_interface.h"
#include "threads/pwm.h"

int main(void)
{
    while(1) {
    printk("Hello World! %s\n", CONFIG_BOARD);

    orchestrator_comms_init();
    scheduler_init();
    sensor_emulation_init();
    dut_interface_init();
    pwm_init();
    }
	return 0;
}
```

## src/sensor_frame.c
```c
#include "sensor_frame.h"
#include <pb_decode.h>
#include <string.h>

static bool fail(const char **error, const char *message)
{
    if (error) *error = message;
    return false;
}

bool sensor_frame_decode(const uint8_t *frame, size_t size,
                         SensorPacket *packet, const char **error)
{
    if (error) *error = NULL;
    if (!frame || !packet || size != 256) return fail(error, "frame must be 256 bytes");
    const size_t length = frame[0] | ((size_t)frame[1] << 8);
    if (length == 0 || length > 254) return fail(error, "invalid payload length");
    for (size_t i = 2 + length; i < size; ++i) {
        if (frame[i] != 0) return fail(error, "nonzero frame padding");
    }
    memset(packet, 0, sizeof(*packet));
    pb_istream_t stream = pb_istream_from_buffer(frame + 2, length);
    if (!pb_decode(&stream, SensorPacket_fields, packet)) return fail(error, "protobuf decode failed");
    if (packet->injection_mode != InjectionMode_IMMEDIATE)
        return fail(error, "MVP requires IMMEDIATE injection mode");
    if (!packet->has_imu || !packet->has_rc) return fail(error, "missing sensor payload");
    const int32_t axes[] = {
        packet->imu.euler_x, packet->imu.euler_y, packet->imu.euler_z,
        packet->imu.gyro_x, packet->imu.gyro_y, packet->imu.gyro_z,
        packet->imu.lin_acc_x, packet->imu.lin_acc_y, packet->imu.lin_acc_z
    };
    for (size_t i = 0; i < sizeof(axes) / sizeof(axes[0]); ++i) {
        if (axes[i] < -32768 || axes[i] > 32767) return fail(error, "IMU value exceeds int16");
    }
    if (packet->lidar_mm > 65535 || packet->rc.vertical < -127 || packet->rc.vertical > 127 ||
        packet->rc.horizontal < -127 || packet->rc.horizontal > 127)
        return fail(error, "LiDAR/RC value out of range");
    return true;
}
```

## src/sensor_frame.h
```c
#pragma once
#include <stdbool.h>
#include <stddef.h>
#include <stdint.h>
#include <sensor_data.pb.h>

// Shared by the SPI receiver and the host nanopb compatibility test.
// MVP accepts only IMMEDIATE frames; legacy/scheduled frames are rejected.
bool sensor_frame_decode(const uint8_t *frame, size_t size,
                         SensorPacket *packet, const char **error);
```

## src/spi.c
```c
#include <zephyr/drivers/spi.h>
#include <zephyr/drivers/gpio.h>
#include <zephyr/devicetree.h>

// our own specifiers
#define LEN_TRANSCEIVE 4
#define DELAY 0
#define SPI_DEVICE_NAME esp32

// operation flags we want
static const spi_operation_t operation_flags = (

    SPI_OP_MODE_MASTER |
    SPI_TRANSFER_MSB |
    SPI_WORD_SET(8));

// figure out what flags we want later.
// we are declaring the esp32 as master right now.
static const struct spi_dt_spec spi_device = SPI_DT_SPEC_GET(
    DT_NODELABEL(SPI_DEVICE_NAME),
    operation_flags,
    DELAY);

int main()
{
    /*
    - I want to read four bytes so I need a four-byte array.
    - That array needs to be a member of a spi_buf
    - spi_buf needs to be a member of a spi_buf_set
    */
    // read
    uint8_t read_buf[LEN_TRANSCEIVE] = {0};
    struct spi_buf spi_read_buf = {&read_buf, LEN_TRANSCEIVE};
    const struct spi_buf_set rx_buf = {&spi_read_buf, 1};

    // write
    uint8_t write_buf[LEN_TRANSCEIVE] = {0};
    struct spi_buf spi_write_buf = {&write_buf, LEN_TRANSCEIVE};
    const struct spi_buf_set tx_buf = {&spi_write_buf, 1};

    // populate the write buffer
    for (int i = 0; i < LEN_TRANSCEIVE; i++)
        write_buf[i] = i;

    // transceive
    int transceive_res = spi_transceive_dt(
        &spi_device,
        &tx_buf,
        &rx_buf);

    if (transceive_res)
    {
        printk("Error on transcceiving\n");
        return 1;
    }

    // print out what has been read
    for (int i = 0; i < LEN_TRANSCEIVE; i++)
        printk("received word %d: %d\n", i, read_buf[i]);

    return 0;
}
```

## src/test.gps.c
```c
#define GPS_SEND 1

#if GPS_SEND == 1
#include "threads/gnss_emulator.h"
#include "threads/sensor_emulation_test.h"

#include <zephyr/kernel.h>
#include <zephyr/device.h>
#include <zephyr/drivers/uart.h>
#include <zephyr/logging/log.h>
#include <errno.h>

LOG_MODULE_REGISTER(main, LOG_LEVEL_INF);

static const struct device *uart_gnss = DEVICE_DT_GET(DT_ALIAS(uart_gnss));

int main(void)
{
    printk("starting up\n");
    if (!device_is_ready(uart_gnss))
    {
        LOG_ERR("GNSS UART not ready");
        return -ENODEV;
    }
    printk("device is ready\n");

    LOG_INF("GNSS UART ready: %s", uart_gnss->name);

    if (gnss_emulator_init(uart_gnss) < 0)
    {
        LOG_ERR("Failed to initialize GNSS emulator");
        return -ENODEV;
    }

    printk("successful init\n");

    gps_data_t gps_packet = {
        .time = "123519.00",
        .status = 'A',
        .latitude = 4807.03800,
        .lat_dir = 'N',
        .longitude = 1131.00000,
        .lon_dir = 'E',
        .speed = 12.0f,
        .course = 185.0f,
        .date = "230394",
        .variation = 0.0f,
        .var_dir = 'E',
        .mode = 'A',
        .nav_status = 'S'};

    LOG_INF("GNSS emulator initialized");

    while (1)
    {
        printk("sending packet\n");
        gps_update_location(&gps_packet);
        printk("packet sent\n");
        k_msleep(1000);
    }

    return 0;
}

#else

#include <zephyr/kernel.h>
#include <zephyr/device.h>
#include <zephyr/drivers/uart.h>
#include <zephyr/sys/printk.h>
#include <errno.h>

#define UART_RX_NODE DT_ALIAS(uart_gnss)

#if !DT_NODE_EXISTS(UART_RX_NODE)
#error "uart_gnss alias is not defined in the devicetree"
#endif

static const struct device *uart_dev = DEVICE_DT_GET(UART_RX_NODE);

int main(void)
{
    if (!device_is_ready(uart_dev)) {
        printk("UART device not ready\n");
        return -ENODEV;
    }

    printk("UART receiver started on %s\n", uart_dev->name);

    uint8_t c;

    while (1) {
        if (uart_poll_in(uart_dev, &c) == 0) {
            printk("%c", c);
        } else {
            k_msleep(1);
        }
    }

    return 0;
}
#endif
```

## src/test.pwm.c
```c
#define PWM_SEND 0

#if PWM_SEND == 0

#include "threads/pwm.h"
#include "threads/spi_to_fs.h"

#include <zephyr/kernel.h>
#include <zephyr/device.h>
#include <zephyr/sys/printk.h>
#include <errno.h>
#include <stdint.h>

int main(void)
{
    printk("Starting PWM capture test\n");

    pwm_init();

    printk("PWM capture initialization requested\n");

    avg_v_packet_t packet = {0};
    uint32_t packet_count = 0;

    while (1)
    {
        int ret = k_msgq_get(&spi_to_fs_q, &packet, K_FOREVER);

        if (ret != 0)
        {
            printk("Failed to receive PWM packet: %d\n", ret);
            continue;
        }

        packet_count++;

        printk("\n========== PWM Packet %u ==========\n", packet_count);

        for (int i = 0; i < NUM_PWM; i++)
        {
            int32_t millivolts = (int32_t)(packet.v[i] * 1000.0 + 0.5);

            printk("PWM %d: %d.%03d V\n", i + 1, (int)(millivolts / 1000),(int)(millivolts % 1000));
        }

        printk("===================================\n");
    }

    return 0;
}
#else

#include <zephyr/kernel.h>
#include <zephyr/device.h>
#include <zephyr/drivers/pwm.h>
#include <zephyr/sys/printk.h>
#include <errno.h>
#include <stdint.h>

#define NUM_PWM 4
#define PWM_PERIOD PWM_MSEC(1)
#define PWM_UPDATE_MS 100

static const struct device *const pwm_outputs[NUM_PWM] = {
    DEVICE_DT_GET(DT_ALIAS(pwm_input1)),
    DEVICE_DT_GET(DT_ALIAS(pwm_input2)),
    DEVICE_DT_GET(DT_ALIAS(pwm_input3)),
    DEVICE_DT_GET(DT_ALIAS(pwm_input4))
};

static uint32_t duty_cycles[NUM_PWM] = {
    25, 50, 75, 90
};

int main(void)
{
    printk("Starting PWM output test\n");

    for (int i = 0; i < NUM_PWM; i++) {
        if (!device_is_ready(pwm_outputs[i])) {
            printk("PWM %d device not ready\n", i + 1);
            return -ENODEV;
        }
    }

    while (1) {
        for (int i = 0; i < NUM_PWM; i++) {
            uint32_t pulse = (PWM_PERIOD / 100) * duty_cycles[i];

            int ret = pwm_set(pwm_outputs[i], 1, PWM_PERIOD, pulse, PWM_POLARITY_NORMAL);

            if (ret != 0) {
                printk("Failed to configure PWM %d: %d\n", i + 1, ret);
                return ret;
            }

            printk("PWM %d: channel %u, duty %u%%, period 1000 us\n", i + 1, 1, duty_cycles[i]);

            duty_cycles[i] += 1;

            if (duty_cycles[i] >= 100) {
                duty_cycles[i] = 1;
            }
        }

        printk("----------------------------\n");

        k_msleep(PWM_UPDATE_MS);
    }

    return 0;
}

#endif
```
